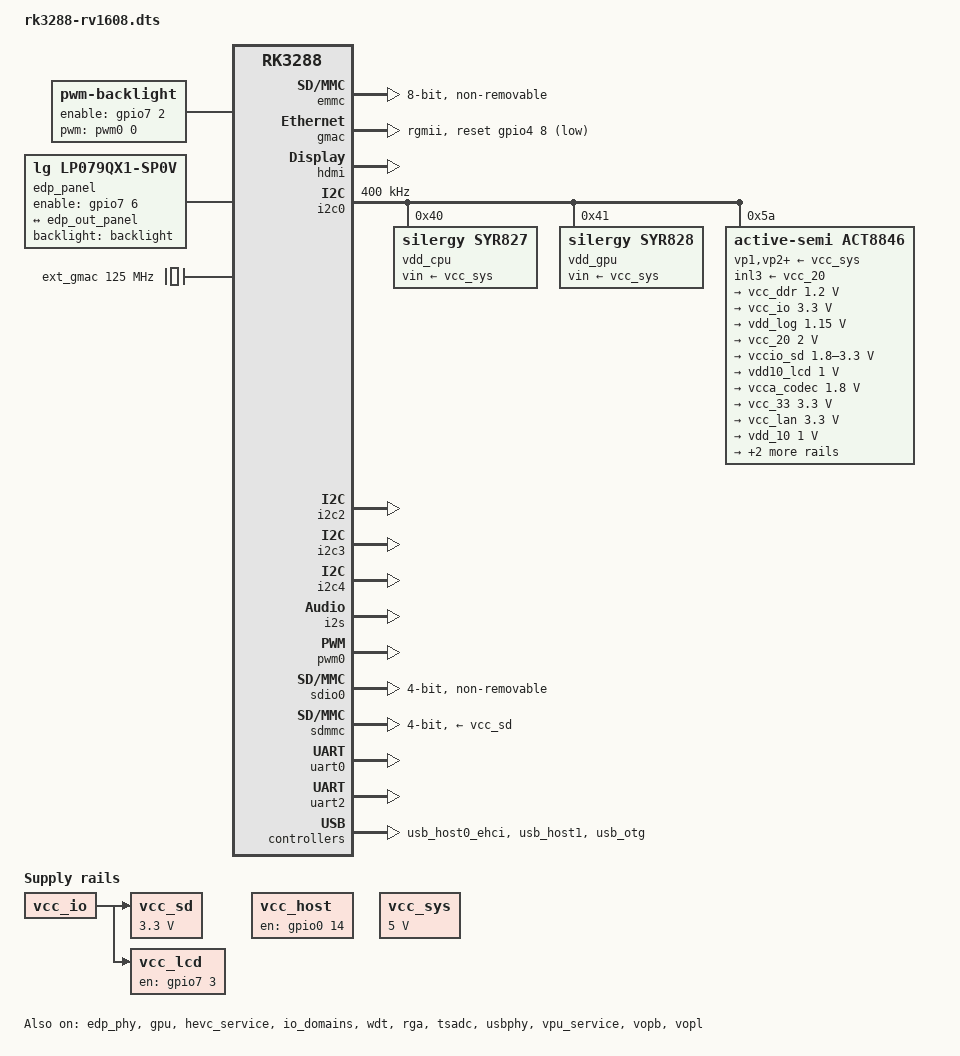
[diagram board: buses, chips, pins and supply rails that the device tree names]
/*
 * Copyright (c) 2015~2017 Fuzhou Rockchip Electronics Co., Ltd
 *
 * This file is dual-licensed: you can use it either under the terms
 * of the GPL or the X11 license, at your option. Note that this dual
 * licensing only applies to this file, and not this project as a
 * whole.
 *
 *  a) This file is free software; you can redistribute it and/or
 *     modify it under the terms of the GNU General Public License as
 *     published by the Free Software Foundation; either version 2 of the
 *     License, or (at your option) any later version.
 *
 *     This file is distributed in the hope that it will be useful,
 *     but WITHOUT ANY WARRANTY; without even the implied warranty of
 *     MERCHANTABILITY or FITNESS FOR A PARTICULAR PURPOSE.  See the
 *     GNU General Public License for more details.
 *
 * Or, alternatively,
 *
 *  b) Permission is hereby granted, free of charge, to any person
 *     obtaining a copy of this software and associated documentation
 *     files (the "Software"), to deal in the Software without
 *     restriction, including without limitation the rights to use,
 *     copy, modify, merge, publish, distribute, sublicense, and/or
 *     sell copies of the Software, and to permit persons to whom the
 *     Software is furnished to do so, subject to the following
 *     conditions:
 *
 *     The above copyright notice and this permission notice shall be
 *     included in all copies or substantial portions of the Software.
 *
 *     THE SOFTWARE IS PROVIDED "AS IS", WITHOUT WARRANTY OF ANY KIND,
 *     EXPRESS OR IMPLIED, INCLUDING BUT NOT LIMITED TO THE WARRANTIES
 *     OF MERCHANTABILITY, FITNESS FOR A PARTICULAR PURPOSE AND
 *     NONINFRINGEMENT. IN NO EVENT SHALL THE AUTHORS OR COPYRIGHT
 *     HOLDERS BE LIABLE FOR ANY CLAIM, DAMAGES OR OTHER LIABILITY,
 *     WHETHER IN AN ACTION OF CONTRACT, TORT OR OTHERWISE, ARISING
 *     FROM, OUT OF OR IN CONNECTION WITH THE SOFTWARE OR THE USE OR
 *     OTHER DEALINGS IN THE SOFTWARE.
 */

/dts-v1/;
#include "rk3288.dtsi"
#include <dt-bindings/pwm/pwm.h>

/ {
	compatible = "rockchip,rk3288-rv1608", "rockchip,rk3288";

	backlight: backlight {
		compatible = "pwm-backlight";
		brightness-levels = <
			  0   1   2   3   4   5   6   7
			  8   9  10  11  12  13  14  15
			 16  17  18  19  20  21  22  23
			 24  25  26  27  28  29  30  31
			 32  33  34  35  36  37  38  39
			 40  41  42  43  44  45  46  47
			 48  49  50  51  52  53  54  55
			 56  57  58  59  60  61  62  63
			 64  65  66  67  68  69  70  71
			 72  73  74  75  76  77  78  79
			 80  81  82  83  84  85  86  87
			 88  89  90  91  92  93  94  95
			 96  97  98  99 100 101 102 103
			104 105 106 107 108 109 110 111
			112 113 114 115 116 117 118 119
			120 121 122 123 124 125 126 127
			128 129 130 131 132 133 134 135
			136 137 138 139 140 141 142 143
			144 145 146 147 148 149 150 151
			152 153 154 155 156 157 158 159
			160 161 162 163 164 165 166 167
			168 169 170 171 172 173 174 175
			176 177 178 179 180 181 182 183
			184 185 186 187 188 189 190 191
			192 193 194 195 196 197 198 199
			200 201 202 203 204 205 206 207
			208 209 210 211 212 213 214 215
			216 217 218 219 220 221 222 223
			224 225 226 227 228 229 230 231
			232 233 234 235 236 237 238 239
			240 241 242 243 244 245 246 247
			248 249 250 251 252 253 254 255>;
		default-brightness-level = <128>;
		enable-gpios = <&gpio7 2 GPIO_ACTIVE_HIGH>;
		pinctrl-names = "default";
		pinctrl-0 = <&bl_en>;
		pwms = <&pwm0 0 1000000 PWM_POLARITY_INVERTED>;
	};

	edp_panel: edp-panel {
		status = "okay";
		compatible ="lg,lp079qx1-sp0v", "simple-panel";
		backlight = <&backlight>;
		enable-gpios = <&gpio7 6 GPIO_ACTIVE_HIGH>;
		pinctrl-0 = <&lcd_cs>;

		ports {
			panel_in_edp: endpoint {
				remote-endpoint = <&edp_out_panel>;
			};
		};
	};

	ext_gmac: external-gmac-clock {
		compatible = "fixed-clock";
		clock-frequency = <125000000>;
		clock-output-names = "ext_gmac";
		#clock-cells = <0>;
	};
	
	/* This turns on USB vbus for both host0 (ehci) and host1 (dwc2) */
	vcc_host: vcc-host-regulator {
		compatible = "regulator-fixed";
		enable-active-high;
		gpio = <&gpio0 14 GPIO_ACTIVE_HIGH>;
		pinctrl-names = "default";
		pinctrl-0 = <&host_vbus_drv>;
		regulator-name = "vcc_host";
		regulator-always-on;
		regulator-boot-on;
	};

	vcc_sys: vsys-regulator {
		compatible = "regulator-fixed";
		regulator-name = "vcc_sys";
		regulator-min-microvolt = <5000000>;
		regulator-max-microvolt = <5000000>;
		regulator-always-on;
		regulator-boot-on;
	};

	vcc_sd: sdmmc-regulator {
		compatible = "regulator-fixed";
		pinctrl-names = "default";
		pinctrl-0 = <&sdmmc_pwr>;
		regulator-name = "vcc_sd";
		regulator-min-microvolt = <3300000>;
		regulator-max-microvolt = <3300000>;
		startup-delay-us = <100000>;
		vin-supply = <&vcc_io>;
	};

	vcc_lcd: vcc-lcd {
		compatible = "regulator-fixed";
		enable-active-high;
		gpio = <&gpio7 3 GPIO_ACTIVE_HIGH>;
		pinctrl-names = "default";
		pinctrl-0 = <&lcd_en>;
		regulator-name = "vcc_lcd";
		vin-supply = <&vcc_io>;
	};
};

&cpu0 {
	cpu0-supply = <&vdd_cpu>;
};

&edp {
	status = "disabled";
	vcc-supply = <&vdd10_lcd>;
	vccio-supply = <&vcc18_lcd>;

	ports {
		edp_out: port@1 {
			reg = <1>;
			#address-cells = <1>;
			#size-cells = <0>;
			edp_out_panel: endpoint {
				reg = <0>;
				remote-endpoint = <&panel_in_edp>;
			};
		};
	};
};

&edp_phy {
	status = "okay";
};

&emmc {
	bus-width = <8>;
	cap-mmc-highspeed;
	disable-wp;
	non-removable;
	num-slots = <1>;
	pinctrl-names = "default";
	pinctrl-0 = <&emmc_clk &emmc_cmd &emmc_pwr &emmc_bus8>;
	status = "okay";
};

&gmac {
	phy-mode = "rgmii";
	clock_in_out = "input";
	snps,reset-gpio = <&gpio4 8 0>;
	snps,reset-active-low;
	snps,reset-delays-us = <0 10000 50000>;
	assigned-clocks = <&cru SCLK_MAC>;
	assigned-clock-parents = <&ext_gmac>;
	pinctrl-names = "default";
	pinctrl-0 = <&rgmii_pins>;
	tx_delay = <0x30>;
	rx_delay = <0x10>;
	max-speed = <100>;
	status = "okay";
};

&gpu {
	status = "okay";
	mali-supply = <&vdd_gpu>;
};

&hdmi {
	#address-cells = <1>;
	#size-cells = <0>;
	#sound-dai-cells = <0>;
	status = "okay";
};

&hevc_service {
	status = "okay";
};

&i2c0 {
	status = "okay";
	clock-frequency = <400000>;

	vdd_cpu: syr827@40 {
		compatible = "silergy,syr827";
		fcs,suspend-voltage-selector = <1>;
		reg = <0x40>;
		regulator-name = "vdd_cpu";
		regulator-min-microvolt = <850000>;
		regulator-max-microvolt = <1350000>;
		regulator-always-on;
		regulator-boot-on;
		regulator-enable-ramp-delay = <300>;
		regulator-ramp-delay = <8000>;
		vin-supply = <&vcc_sys>;
		regulator-state-mem {
			regulator-off-in-suspend;
		};
	};

	vdd_gpu: syr828@41 {
		compatible = "silergy,syr828";
		fcs,suspend-voltage-selector = <1>;
		reg = <0x41>;
		regulator-name = "vdd_gpu";
		regulator-min-microvolt = <850000>;
		regulator-max-microvolt = <1350000>;
		regulator-always-on;
		regulator-ramp-delay = <6000>;
		vin-supply = <&vcc_sys>;
		regulator-state-mem {
			regulator-off-in-suspend;
		};
	};

	act8846: act8846@5a {
		compatible = "active-semi,act8846";
		reg = <0x5a>;
		status = "okay";

		vp1-supply = <&vcc_sys>;
		vp2-supply = <&vcc_sys>;
		vp3-supply = <&vcc_sys>;
		vp4-supply = <&vcc_sys>;
		inl1-supply = <&vcc_sys>;
		inl2-supply = <&vcc_sys>;
		inl3-supply = <&vcc_20>;

		regulators {
			vcc_ddr: REG1 {
				regulator-name = "VCC_DDR";
				regulator-min-microvolt = <1200000>;
				regulator-max-microvolt = <1200000>;
				regulator-always-on;
			};

			vcc_io: REG2 {
				regulator-name = "VCC_IO";
				regulator-min-microvolt = <3300000>;
				regulator-max-microvolt = <3300000>;
				regulator-always-on;
			};

			vdd_log: REG3 {
				regulator-name = "VDD_LOG";
				regulator-min-microvolt = <1150000>;
				regulator-max-microvolt = <1150000>;
				regulator-always-on;
			};

			vcc_20: REG4 {
				regulator-name = "VCC_20";
				regulator-min-microvolt = <2000000>;
				regulator-max-microvolt = <2000000>;
				regulator-always-on;
			};

			vccio_sd: REG5 {
				regulator-name = "VCCIO_SD";
				regulator-min-microvolt = <1800000>;
				regulator-max-microvolt = <3300000>;
				regulator-always-on;
			};

			vdd10_lcd: REG6 {
				regulator-name = "VDD10_LCD";
				regulator-min-microvolt = <1000000>;
				regulator-max-microvolt = <1000000>;
				regulator-always-on;
			};

			vcca_codec: REG7 {
				regulator-name = "VCCA_CODEC";
				regulator-min-microvolt = <1800000>;
				regulator-max-microvolt = <1800000>;
				regulator-always-on;
			};

			vcc_33: REG8 {
				regulator-name = "VCC_33";
				regulator-min-microvolt = <3300000>;
				regulator-max-microvolt = <3300000>;
				regulator-always-on;
			};

			vcc_lan: REG9 {
				regulator-name = "VCC_LAN";
				regulator-min-microvolt = <3300000>;
				regulator-max-microvolt = <3300000>;
				regulator-always-on;
			};

			vdd_10: REG10 {
				regulator-name = "VDD_10";
				regulator-min-microvolt = <1000000>;
				regulator-max-microvolt = <1000000>;
				regulator-always-on;
			};

			vcc_18: REG11 {
				regulator-name = "VCC_18";
				regulator-min-microvolt = <1800000>;
				regulator-max-microvolt = <1800000>;
				regulator-always-on;
			};

			vcc18_lcd: REG12 {
				regulator-name = "VCC18_LCD";
				regulator-min-microvolt = <1800000>;
				regulator-max-microvolt = <1800000>;
				regulator-always-on;
			};
		};
	};
};

&i2c2 {
	status = "okay";
};

&i2c3 {
	status = "okay";
};

&i2c4 {
	status = "okay";
};

&i2s {
	#sound-dai-cells = <0>;
	status = "okay";
};

&io_domains {
	status = "okay";

	sdcard-supply = <&vccio_sd>;
};

&wdt {
	status = "okay";
};

&pwm0 {
	status = "okay";
};

&rga {
	status = "okay";
};

&sdio0 {
	status = "okay";

	clock-frequency = <50000000>;
	clock-freq-min-max = <200000 50000000>;

	bus-width = <4>;
	cap-sd-highspeed;
	cap-sdio-irq;
	disable-wp;
	keep-power-in-suspend;
	non-removable;
	num-slots = <1>;
	pinctrl-names = "default";
	pinctrl-0 = <&sdio0_bus4 &sdio0_cmd &sdio0_clk &sdio0_int>;
	sd-uhs-sdr104;
	supports-sdio;
};

&sdmmc {
	supports-sd;
	bus-width = <4>;
	cap-mmc-highspeed;
	sd-uhs-sdr12;
	sd-uhs-sdr25;
	sd-uhs-sdr50;
	sd-uhs-sdr104;
	cap-sd-highspeed;
	card-detect-delay = <200>;
	disable-wp;			/* wp not hooked up */
	num-slots = <1>;
	pinctrl-names = "default";
	pinctrl-0 = <&sdmmc_clk &sdmmc_cmd &sdmmc_cd &sdmmc_bus4>;
	status = "okay";
	vmmc-supply = <&vcc_sd>;
	vqmmc-supply = <&vccio_sd>;
	supports-sd;
};

&tsadc {
	rockchip,hw-tshut-mode = <0>; /* tshut mode 0:CRU 1:GPIO */
	rockchip,hw-tshut-polarity = <0>; /* tshut polarity 0:LOW 1:HIGH */
	status = "okay";
};

&uart0 {
	pinctrl-names = "default";
	pinctrl-0 = <&uart0_xfer &uart0_cts>;
	status = "okay";
};

&uart2 {
	status = "okay";
};

&usbphy {
	status = "okay";
};

&usb_host0_ehci {
	rockchip-relinquish-port;
	status = "okay";
};

&usb_host1 {
	status = "okay";
};

&usb_otg {
	status = "okay";
};

&vpu_service {
	status = "okay";
};

&vopb {
	status = "okay";
};

&vopb_mmu {
	status = "okay";
};

&vopl {
	status = "okay";
};

&vopl_mmu {
	status = "okay";
};

&pinctrl {
	pcfg_pull_none_drv_8ma: pcfg-pull-none-drv-8ma {
		drive-strength = <8>;
	};

	pcfg_pull_up_drv_8ma: pcfg-pull-up-drv-8ma {
		bias-pull-up;
		drive-strength = <8>;
	};

	pmic {
		pmic_int: pmic-int {
			rockchip,pins = <RK_GPIO0 4 RK_FUNC_GPIO &pcfg_pull_up>;
		};
	};

	backlight {
		bl_en: bl-en {
			rockchip,pins = <7 2 RK_FUNC_GPIO &pcfg_pull_none>;
		};
	};

	sdmmc {
		sdmmc_bus4: sdmmc-bus4 {
			rockchip,pins = <6 16 RK_FUNC_1 &pcfg_pull_up_drv_8ma>,
					<6 17 RK_FUNC_1 &pcfg_pull_up_drv_8ma>,
					<6 18 RK_FUNC_1 &pcfg_pull_up_drv_8ma>,
					<6 19 RK_FUNC_1 &pcfg_pull_up_drv_8ma>;
		};

		sdmmc_clk: sdmmc-clk {
			rockchip,pins = <6 20 RK_FUNC_1 &pcfg_pull_none_drv_8ma>;
		};

		sdmmc_cmd: sdmmc-cmd {
			rockchip,pins = <6 21 RK_FUNC_1 &pcfg_pull_up_drv_8ma>;
		};

		sdmmc_pwr: sdmmc-pwr {
			rockchip,pins = <7 11 RK_FUNC_GPIO &pcfg_pull_none>;
		};
	};

	usb {
		host_vbus_drv: host-vbus-drv {
			rockchip,pins = <0 14 RK_FUNC_GPIO &pcfg_pull_none>;
		};
	};

	lcd {
		lcd_cs: lcd-cs {
			rockchip,pins = <7 6 RK_FUNC_GPIO &pcfg_pull_none>;
		};
		lcd_en: lcd-en  {
			rockchip,pins = <7 3 RK_FUNC_GPIO &pcfg_pull_none>;
		};
	};
};
